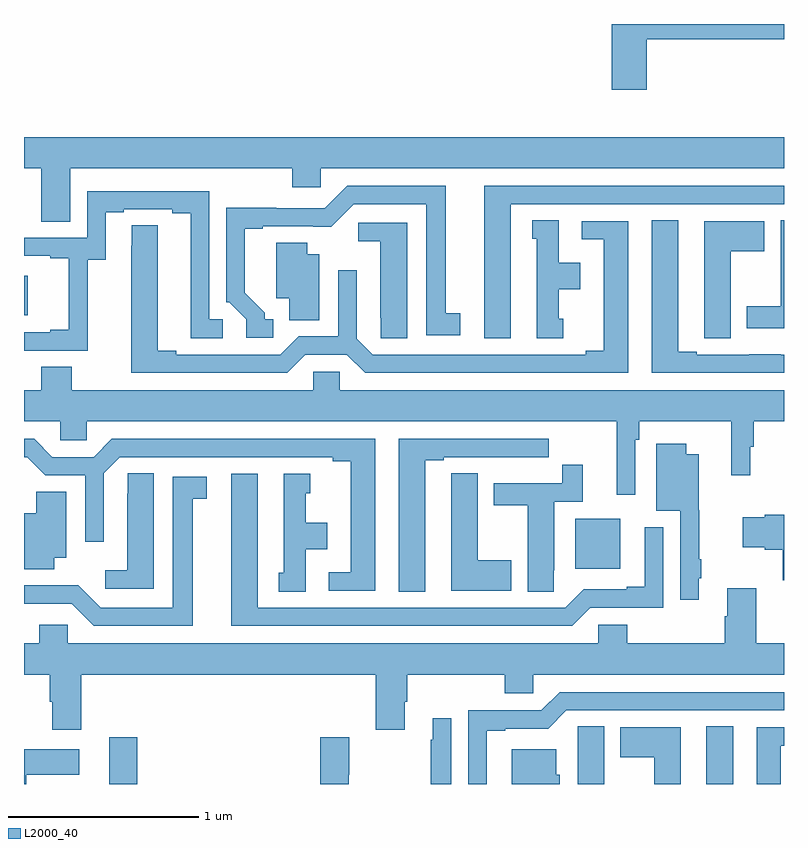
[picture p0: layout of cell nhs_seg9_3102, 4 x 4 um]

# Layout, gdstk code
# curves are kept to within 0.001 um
import gdstk
lib = gdstk.Library(unit=1e-6, precision=1e-09)
def R(c, l, rs):  # rectangles x0, y0, x1, y1
    for r in rs: c.add(gdstk.rectangle(r[:2], r[2:], *l))
def P(c, l, *ps):  # polygons
    for p in ps: c.add(gdstk.Polygon(p, *l))
L2000_40 = (2000, 40)

nhs_seg9_3102 = lib.new_cell('nhs_seg9_3102')
R(nhs_seg9_3102, L2000_40, [(289.448,1206.5,289.595,1206.745), (292.592,1206.5,292.732,1206.803), (291.902,1207.634,292.138,1207.897), (289,1208.966,289.021,1209.175)])
P(nhs_seg9_3102, L2000_40, [(292.277,1210.42),(293,1210.42),(293,1210.5),(292.094,1210.5),(292.094,1210.155),(292.277,1210.155)],
  [(289.243,1209.74),(290.411,1209.74),(290.411,1209.642),(290.562,1209.642),(290.562,1209.74),(293,1209.74),(293,1209.904),(289,1209.904),(289,1209.74),(289.091,1209.74),(289.091,1209.46),(289.243,1209.46)],
  [(290.311,1208.946),(290.266,1208.946),(290.266,1208.981),(290.161,1209.086),(290.161,1209.423),(290.257,1209.423),(290.257,1209.435),(290.618,1209.434),(290.736,1209.552),(291.116,1209.552),(291.116,1208.862),(291.295,1208.862),(291.295,1208.978),(291.22,1208.978),(291.22,1209.648),(290.7,1209.648),(290.583,1209.531),(290.327,1209.531),(290.327,1209.533),(290.064,1209.533),(290.064,1209.036),(290.079,1209.036),(290.169,1208.946),(290.169,1208.85),(290.311,1208.85)],
  [(291.562,1209.552),(293,1209.552),(293,1209.648),(291.422,1209.648),(291.422,1208.847),(291.562,1208.847)],
  [(289.335,1209.259),(289.429,1209.259),(289.429,1209.51),(289.525,1209.51),(289.525,1209.525),(289.781,1209.525),(289.781,1209.505),(289.877,1209.505),(289.877,1208.845),(290.047,1208.845),(290.047,1208.946),(289.974,1208.946),(289.974,1209.621),(289.332,1209.621),(289.332,1209.375),(289,1209.375),(289,1209.279),(289.139,1209.279),(289.139,1209.267),(289.235,1209.267),(289.235,1208.89),(289.139,1208.89),(289.139,1208.877),(289,1208.877),(289,1208.781),(289.335,1208.781)],
  [(293,1208.76),(292.982,1208.76),(292.982,1208.761),(292.816,1208.761),(292.816,1208.76),(292.54,1208.76),(292.54,1208.775),(292.444,1208.775),(292.444,1209.467),(292.304,1209.467),(292.304,1208.664),(293,1208.664)],
  [(293,1209.467),(292.982,1209.467),(292.982,1209.015),(292.805,1209.015),(292.805,1208.898),(293,1208.898)],
  [(291.838,1208.949),(291.814,1208.949),(291.814,1209.104),(291.928,1209.104),(291.928,1209.244),(291.814,1209.244),(291.814,1209.467),(291.674,1209.467),(291.674,1209.369),(291.698,1209.369),(291.698,1208.847),(291.838,1208.847)],
  [(292.72,1209.304),(292.897,1209.304),(292.897,1209.463),(292.58,1209.463),(292.58,1208.953),(292.581,1208.953),(292.581,1208.845),(292.72,1208.845)],
  [(290.481,1208.76),(290.699,1208.76),(290.795,1208.664),(292.18,1208.664),(292.18,1209.462),(291.936,1209.462),(291.936,1209.366),(292.052,1209.366),(292.052,1208.78),(291.956,1208.78),(291.956,1208.76),(290.835,1208.76),(290.751,1208.844),(290.751,1209.205),(290.655,1209.205),(290.655,1208.856),(290.445,1208.856),(290.349,1208.76),(289.801,1208.76),(289.801,1208.78),(289.705,1208.78),(289.705,1209.44),(289.566,1209.44),(289.565,1208.664),(290.385,1208.664)],
  [(291.016,1209.453),(290.76,1209.453),(290.76,1209.356),(290.876,1209.356),(290.876,1208.953),(290.877,1208.953),(290.877,1208.845),(291.016,1208.845)],
  [(290.554,1209.289),(290.491,1209.289),(290.491,1209.35),(290.327,1209.35),(290.327,1209.056),(290.396,1209.056),(290.396,1208.941),(290.554,1208.941)],
  [(292.218,1208.312),(292.238,1208.312),(292.238,1208.408),(292.723,1208.408),(292.723,1208.124),(292.822,1208.124),(292.822,1208.274),(292.841,1208.274),(292.841,1208.408),(293,1208.408),(293,1208.572),(290.661,1208.572),(290.661,1208.67),(290.523,1208.67),(290.523,1208.572),(289.251,1208.572),(289.251,1208.696),(289.091,1208.696),(289.091,1208.572),(289,1208.572),(289,1208.408),(289.191,1208.408),(289.191,1208.31),(289.329,1208.31),(289.329,1208.408),(292.121,1208.408),(292.121,1208.022),(292.218,1208.022)],
  [(290.848,1208.316),(289.463,1208.316),(289.367,1208.22),(289.149,1208.22),(289.053,1208.316),(289,1208.316),(289,1208.22),(289.017,1208.22),(289.113,1208.124),(289.323,1208.124),(289.323,1207.776),(289.419,1207.776),(289.419,1208.136),(289.503,1208.22),(290.624,1208.22),(290.624,1208.2),(290.72,1208.2),(290.72,1207.614),(290.604,1207.614),(290.604,1207.518),(290.848,1207.518)],
  [(291.112,1208.205),(291.208,1208.205),(291.208,1208.22),(291.484,1208.22),(291.484,1208.219),(291.65,1208.219),(291.65,1208.22),(291.763,1208.22),(291.763,1208.316),(290.972,1208.316),(290.972,1207.513),(291.112,1207.513)],
  [(292.552,1207.582),(292.564,1207.582),(292.564,1207.682),(292.554,1207.682),(292.554,1207.941),(292.552,1207.941),(292.552,1208.236),(292.486,1208.236),(292.486,1208.29),(292.328,1208.29),(292.328,1207.937),(292.455,1207.937),(292.455,1207.47),(292.552,1207.47)],
  [(291.789,1207.624),(291.79,1207.624),(291.79,1207.986),(291.941,1207.986),(291.941,1208.179),(291.832,1208.179),(291.832,1208.082),(291.473,1208.082),(291.473,1207.966),(291.65,1207.966),(291.65,1207.513),(291.789,1207.513)],
  [(289.684,1208.135),(289.545,1208.135),(289.545,1208.027),(289.544,1208.027),(289.544,1207.624),(289.428,1207.624),(289.428,1207.527),(289.684,1207.527)],
  [(291.565,1207.677),(291.388,1207.677),(291.388,1208.135),(291.249,1208.135),(291.249,1208.027),(291.248,1208.027),(291.248,1207.517),(291.565,1207.517)],
  [(290.482,1207.736),(290.596,1207.736),(290.596,1207.876),(290.482,1207.876),(290.482,1208.031),(290.506,1208.031),(290.506,1208.134),(290.366,1208.134),(290.366,1207.611),(290.342,1207.611),(290.342,1207.513),(290.482,1207.513)],
  [(291.981,1207.428),(292.365,1207.428),(292.365,1207.852),(292.268,1207.852),(292.268,1207.537),(292.172,1207.537),(292.172,1207.524),(291.945,1207.524),(291.849,1207.428),(290.23,1207.428),(290.23,1208.134),(290.09,1208.134),(290.09,1207.332),(291.885,1207.332)],
  [(289.888,1208.002),(289.963,1208.002),(289.963,1208.118),(289.784,1208.118),(289.784,1207.428),(289.404,1207.428),(289.286,1207.546),(289,1207.545),(289,1207.449),(289.251,1207.449),(289.368,1207.332),(289.888,1207.332)],
  [(289.159,1207.691),(289.222,1207.691),(289.222,1208.039),(289.064,1208.039),(289.064,1207.924),(289,1207.924),(289,1207.63),(289.159,1207.63)],
  [(293,1207.916),(292.899,1207.916),(292.899,1207.903),(292.782,1207.903),(292.782,1207.745),(292.899,1207.745),(292.899,1207.733),(292.993,1207.733),(292.993,1207.572),(293,1207.572)],
  [(289.23,1207.338),(289.079,1207.338),(289.079,1207.24),(289,1207.24),(289,1207.076),(289.136,1207.076),(289.136,1206.934),(289.148,1206.934),(289.148,1206.786),(289.301,1206.786),(289.301,1207.076),(290.852,1207.076),(290.852,1206.786),(291.004,1206.786),(291.004,1206.934),(291.017,1206.934),(291.017,1207.076),(291.53,1207.076),(291.53,1206.978),(291.681,1206.978),(291.681,1207.076),(293,1207.076),(293,1207.24),(292.853,1207.24),(292.853,1207.531),(292.7,1207.531),(292.7,1207.382),(292.688,1207.382),(292.688,1207.24),(292.175,1207.24),(292.175,1207.338),(292.023,1207.338),(292.023,1207.24),(289.23,1207.24)],
  [(291.436,1206.78),(291.532,1206.78),(291.532,1206.792),(291.759,1206.792),(291.855,1206.888),(293,1206.888),(293,1206.984),(291.819,1206.984),(291.723,1206.888),(291.339,1206.888),(291.339,1206.5),(291.436,1206.5)],
  [(291.249,1206.847),(291.152,1206.847),(291.152,1206.734),(291.141,1206.734),(291.141,1206.5),(291.249,1206.5)],
  [(292.054,1206.803),(291.915,1206.803),(291.915,1206.692),(291.914,1206.692),(291.914,1206.5),(292.054,1206.5)],
  [(292.456,1206.799),(292.139,1206.799),(292.139,1206.64),(292.316,1206.64),(292.316,1206.5),(292.456,1206.5)],
  [(292.984,1206.702),(293,1206.702),(293,1206.798),(292.856,1206.798),(292.856,1206.5),(292.984,1206.5)],
  [(290.71,1206.55),(290.712,1206.55),(290.712,1206.745),(290.558,1206.745),(290.558,1206.5),(290.71,1206.5)],
  [(289.012,1206.548),(289.291,1206.548),(289.291,1206.682),(289,1206.682),(289,1206.5),(289.012,1206.5)],
  [(291.82,1206.549),(291.802,1206.549),(291.802,1206.682),(291.566,1206.682),(291.566,1206.5),(291.82,1206.5)])

lib.write_gds('nhs_seg9_3102.gds')
